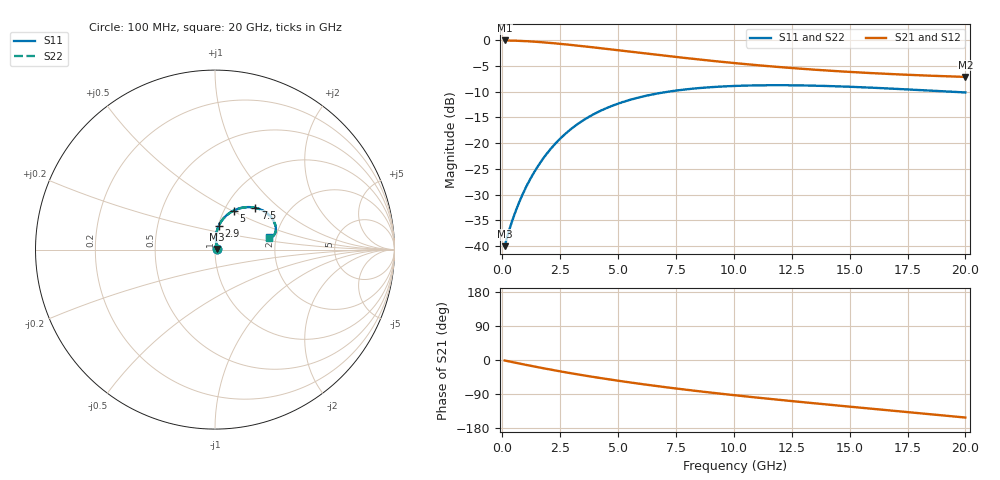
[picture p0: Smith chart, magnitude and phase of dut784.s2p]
! Touchstone file exported from HFSS 2024.1.0
!  File:  C:/UserFiles/LocalFiles/RDL_TSV_Batchsim/temp_RDL_TSV_784_1779906260.aedt
!  Generated:  02:40:41 AM May 28, 2026
!  Design:  RDL_TSV
!  Project:  temp_RDL_TSV_784_1779906260
!  Setup:  Setup1
!  Solution:  Sweep
! Variables:
!  dtsv = 5.48um
!  hbump = 3um
!  htsv = 64um
!  ldown = 215.33um
!  lrdl = 392.73um
!  p = 40
!  p1 = 54.7um
!  rhole = 10um
!  subl = 2216.91um
!  t = 450um
!  tdown = 4.52um
!  trdl = 4.88um
!  viad = 10um
!  wdown = 19.41um
!  wrdl = 25.04um
!  xbump = 18um
# GHz S MA R 50.000000
! Terminal data exported
! Port[1] = TM1_1_T1
! Port[2] = TM1_4_T1
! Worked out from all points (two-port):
!   200 points, 100 MHz to 20 GHz, reference 50 ohm
!   highest |S21| = -0.08 dB at 100 MHz (marker M1); lowest = -7.2 dB at 20 GHz (marker M2)
!   |S21| within 3 dB of the highest: start of sweep to 7.106 GHz
!   lowest |S11| = -40.0 dB at 100 MHz (marker M3), VSWR 1.02, Z = 50.9 + j0.391 ohm
!   |S11| at or under -10 dB: start of sweep to 7.212 GHz; 19.21 GHz to end of sweep
!   |S22| runs from -40.0 to -8.8 dB; largest |S21 - S12| = 9.6e-15
!   S11 on the Smith chart (normalised r, x): 100 MHz: 1.02, +0.01; 2.9 GHz: 1.00, +0.27; 5 GHz: 1.11, +0.51; 7.5 GHz: 1.36, +0.71; 20 GHz: 1.84, +0.28
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0.1  0.009961 22.6  0.9906 -1.3  0.9906 -1.3  0.009961 22.6
! Gamma 0 0 0 0
! Port Impedance 50 0 50 0
0.3  0.0143 47.7  0.9887 -3.8  0.9887 -3.8  0.0143 47.7
0.6  0.02247 66.5  0.9845 -7.6  0.9845 -7.6  0.02247 66.4
0.9  0.03255 76.4  0.9782 -11.3  0.9782 -11.3  0.03255 76.4
1.2  0.04438 81.8  0.97 -15.0  0.97 -15.0  0.04436 81.8
1.6  0.06255 85.0  0.9565 -19.8  0.9565 -19.8  0.0625 85.0
2  0.08288 85.4  0.9406 -24.4  0.9406 -24.4  0.08279 85.4
2.4  0.1046 84.2  0.923 -28.9  0.923 -28.9  0.1045 84.1
2.9  0.1328 81.3  0.8996 -34.3  0.8996 -34.3  0.1326 81.3
3.5  0.1664 76.8  0.8702 -40.4  0.8702 -40.4  0.1661 76.8
4.2  0.2034 71.1  0.8356 -47.3  0.8356 -47.3  0.2031 71.0
5  0.2412 64.4  0.7964 -54.7  0.7964 -54.7  0.2408 64.4
5.8  0.2734 58.1  0.7586 -61.6  0.7586 -61.6  0.2729 58.0
6.8  0.3055 50.8  0.7142 -69.8  0.7142 -69.8  0.3049 50.8
7.5  0.3229 46.2  0.6852 -75.2  0.6852 -75.2  0.3223 46.1
8.8  0.3459 38.6  0.6367 -84.6  0.6367 -84.6  0.3452 38.5
10.1  0.3588 32.1  0.595 -93.4  0.595 -93.4  0.358 32.1
11.7  0.3642 25.6  0.5526 -103.6  0.5526 -103.6  0.3634 25.6
13.4  0.3608 20.2  0.5168 -113.8  0.5168 -113.8  0.36 20.2
15  0.3518 16.4  0.4903 -123.1  0.4903 -123.1  0.351 16.4
16.7  0.3384 13.8  0.4683 -132.9  0.4683 -132.9  0.3375 13.7
20  0.3098 12.6  0.4384 -151.9  0.4384 -151.9  0.3089 12.6
